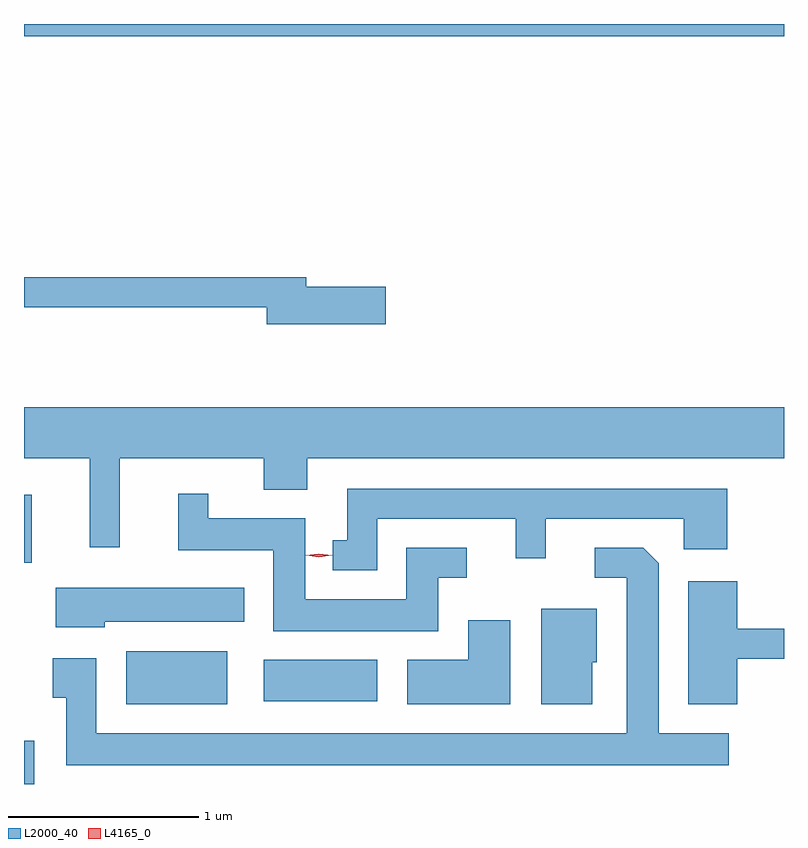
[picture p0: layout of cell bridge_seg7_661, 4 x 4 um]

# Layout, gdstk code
import gdstk
lib = gdstk.Library(unit=1e-6, precision=1e-09)
def R(c, l, rs):  # rectangles x0, y0, x1, y1
    for r in rs: c.add(gdstk.rectangle(r[:2], r[2:], *l))
def P(c, l, *ps):  # polygons
    for p in ps: c.add(gdstk.Polygon(p, *l))
L2000_40 = (2000, 40)
L4165_0 = (4165, 0)

bridge_seg7_661 = lib.new_cell('bridge_seg7_661')
R(bridge_seg7_661, L2000_40, [(828.559,1677.081,828.614,1677.309), (829.096,1677.501,829.629,1677.779), (829.821,1677.516,830.419,1677.734), (828.559,1678.246,828.599,1678.604), (828.559,1681.016,832.559,1681.081)])
P(bridge_seg7_661, L2000_40, [(830.464,1679.699),(830.044,1679.699),(830.044,1679.749),(828.559,1679.749),(828.559,1679.591),(829.836,1679.591),(829.836,1679.501),(830.464,1679.501)],
  [(829.064,1678.796),(829.821,1678.796),(829.821,1678.631),(830.049,1678.631),(830.049,1678.796),(832.559,1678.796),(832.559,1679.064),(828.559,1679.064),(828.559,1678.796),(828.906,1678.796),(828.906,1678.328),(829.064,1678.328)],
  [(830.419,1678.476),(831.146,1678.476),(831.146,1678.268),(831.304,1678.268),(831.304,1678.476),(832.031,1678.476),(832.031,1678.316),(832.259,1678.316),(832.259,1678.634),(830.261,1678.634),(830.261,1678.364),(830.183,1678.364),(830.183,1678.206),(830.419,1678.206)],
  [(830.739,1678.166),(830.888,1678.166),(830.888,1678.324),(830.571,1678.324),(830.571,1678.054),(830.039,1678.054),(830.039,1678.479),(829.529,1678.479),(829.529,1678.608),(829.371,1678.608),(829.371,1678.311),(829.871,1678.311),(829.871,1677.886),(830.739,1677.886)],
  [(832.268,1677.349),(831.899,1677.349),(831.899,1678.244),(831.819,1678.324),(831.563,1678.324),(831.563,1678.166),(831.731,1678.166),(831.731,1677.349),(828.939,1677.349),(828.939,1677.744),(828.711,1677.744),(828.711,1677.536),(828.781,1677.536),(828.781,1677.181),(832.268,1677.181)],
  [(832.314,1677.741),(832.559,1677.741),(832.559,1677.899),(832.314,1677.899),(832.314,1678.149),(832.056,1678.149),(832.056,1677.501),(832.314,1677.501)],
  [(828.984,1677.936),(829.719,1677.936),(829.719,1678.114),(828.726,1678.114),(828.726,1677.906),(828.984,1677.906)],
  [(831.549,1677.721),(831.574,1677.721),(831.574,1678.004),(831.281,1678.004),(831.281,1677.501),(831.549,1677.501)],
  [(831.119,1677.944),(830.896,1677.944),(830.896,1677.734),(830.576,1677.734),(830.576,1677.501),(831.119,1677.501)])
P(bridge_seg7_661, L4165_0, [(830.111,1678.275),(830.042,1678.284),(830.042,1678.284),(830.042,1678.285),(830.111,1678.294),(830.181,1678.285),(830.181,1678.285),(830.181,1678.284)])

lib.write_gds('bridge_seg7_661.gds')
